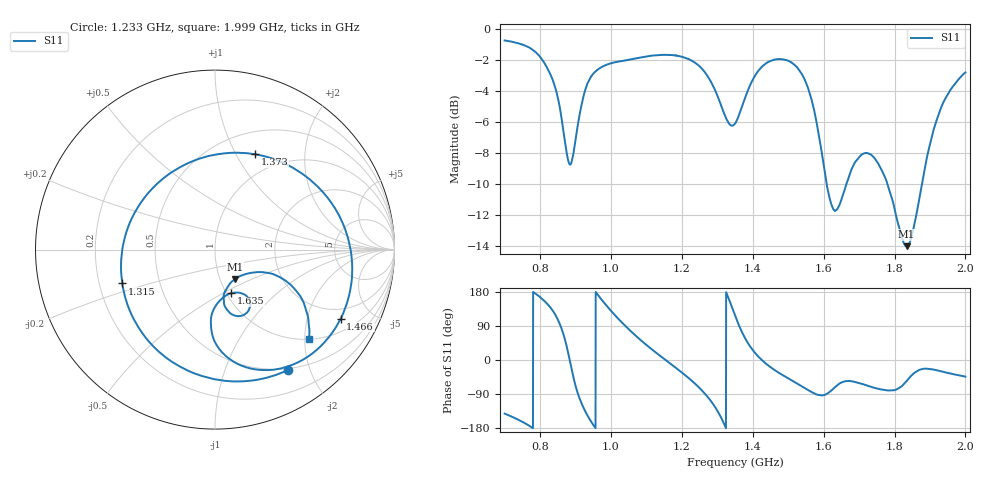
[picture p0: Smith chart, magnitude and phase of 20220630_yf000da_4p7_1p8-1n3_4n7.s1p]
!Keysight Technologies,P9371A,MY57212015,A.15.65.19
!Date: Friday, July 01, 2022 12:08:58
!Correction: S11(C  1-Port  )
!S1P File: Measurement: S11:
# Hz S  dB  R 50
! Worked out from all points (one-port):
!   2601 points, 700 MHz to 2 GHz, reference 50 ohm
!   lowest |S11| = -14.0 dB at 1.834 GHz (marker M1), VSWR 1.50, Z = 58.9 - j20.1 ohm
!   |S11| at or under -10 dB: 1.608 GHz to 1.665 GHz (56.05 MHz wide, 3.43 % of centre); 1.78 GHz to 1.878 GHz (97.75 MHz wide, 5.35 % of centre)
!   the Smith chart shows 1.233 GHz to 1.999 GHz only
!   S11 on the Smith chart (normalised r, x): 1.233 GHz: 0.48, -1.67; 1.315 GHz: 0.30, -0.16; 1.373 GHz: 0.75, +1.20; 1.466 GHz: 1.52, -3.24; 1.635 GHz: 1.05, -0.55; 1.999 GHz: 1.00, -2.09
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7e8  -0.73 -141.5
7.99e8  -1.76 166.7
8.41e8  -3.64 122.7
8.625e8  -6.04 77.9
8.87e8  -8.71 -15.7
9.165e8  -4.94 -113.1
9.385e8  -3.29 -154.1
9.615e8  -2.63 173.9
1.025e9  -2.08 104.5
1.064e9  -1.91 69.0
1.1115e9  -1.72 31.0
1.1875e9  -1.72 -23.9
1.233e9  -2.10 -59.0
1.277e9  -3.19 -102.1
1.315e9  -5.19 -160.0
1.35e9  -6.11 117.5
1.373e9  -4.79 67.3
1.4135e9  -2.76 11.3
1.4655e9  -1.95 -28.8
1.5125e9  -2.20 -55.2
1.5795e9  -5.95 -90.6
1.6345e9  -11.73 -69.5
1.675e9  -9.29 -55.5
1.745e9  -8.39 -73.9
1.834e9  -14.04 -55.7
1.8375e9  -14.01 -51.9
1.999e9  -2.81 -43.8
2e9  -2.79 -43.9
